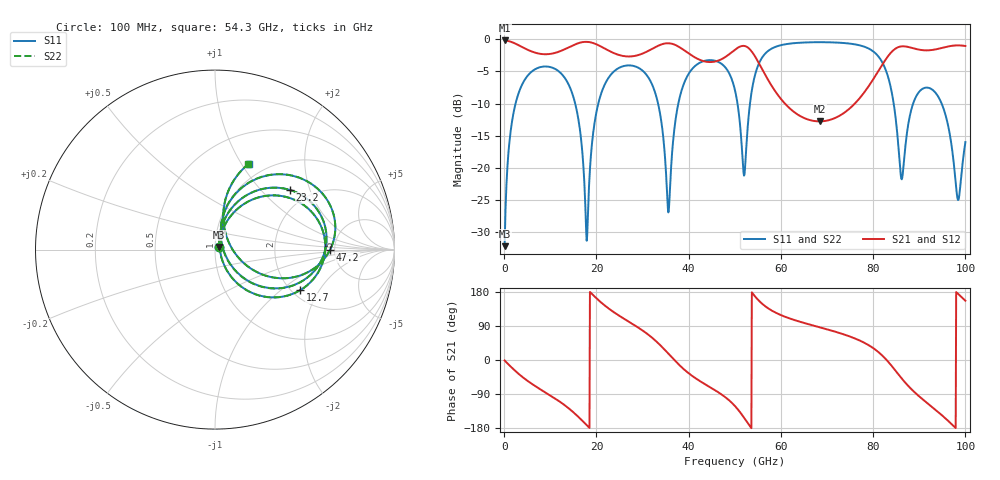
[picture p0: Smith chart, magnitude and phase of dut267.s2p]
! Touchstone file exported from HFSS 2026.1.0
!  File:  C:/ffzhzh/LocalFiles/Ansys_Project_Files/temp_train_TSV_RDL_267_1783674346_29156.aedt
!  Generated:  05:16:35 PM Jul 10, 2026
!  Design:  TSV_RDL
!  Project:  temp_train_TSV_RDL_267_1783674346_29156
! Variables:
!  h_bsmrdl = 3.98um
!  h_ox = 20um
!  h_rdl = 5um
!  h_sub = 75.31um
!  h_tmrdl = 3.52um
!  h_tsv = 75.31um
!  h_via = 3um
!  l_bsmrdl = 146.56um
!  l_sub = 3149.83um
!  l_tmrdl = 551.22um
!  m_sub = 200um
!  pitch = 52.73um
!  r_tsv = 9.02um
!  s_tmrdl = 10um
!  w_bsmrdl = 21.98um
!  w_sub = 500um
!  w_tmrdl = 13.11um
!  x_tsv_center1 = 557.775um
!  x_tsv_center2 = 726.315um
!  x_tsv_center3 = 1290.645um
!  x_tsv_center4 = 1459.185um
!  x_tsv_center5 = 2023.515um
!  x_tsv_center6 = 2192.055um
# GHz S MA R 50.000000
! Terminal data exported
! Port[1] = TM_RDL1_1_T1
! Port[2] = TM_RDL5_1_T1
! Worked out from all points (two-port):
!   1000 points, 100 MHz to 100 GHz, reference 50 ohm
!   highest |S21| = -0.17 dB at 100 MHz (marker M1); lowest = -12.8 dB at 68.4 GHz (marker M2)
!   |S21| within 3 dB of the highest: start of sweep to 42.37 GHz; 82.68 GHz to end of sweep (the widest 2 of 3)
!   lowest |S11| = -32.2 dB at 100 MHz (marker M3), VSWR 1.05, Z = 52 + j1.48 ohm
!   |S11| at or under -10 dB: 15.4 GHz to 20.41 GHz (5.01 GHz wide, 28 % of centre); 33.37 GHz to 37.76 GHz (4.39 GHz wide, 12.3 % of centre); 94.85 GHz to end of sweep (the widest 3 of 6)
!   |S22| runs from -32.2 to -0.4 dB; largest |S21 - S12| = 2.4e-11
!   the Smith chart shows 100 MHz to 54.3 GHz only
!   S11 on the Smith chart (normalised r, x): 100 MHz: 1.04, +0.03; 12.7 GHz: 2.21, -1.38; 23.2 GHz: 1.60, +1.48; 47.2 GHz: 4.59, -0.00; 54.3 GHz: 0.83, +1.07
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0.1  0.02456 35.3  0.9802 -1.3  0.9802 -1.3  0.02456 35.3
! Gamma 0 0 0 0
! Port Impedance 50 0 50 0
3.4  0.4051 47.4  0.8903 -39.3  0.8903 -39.3  0.4051 47.4
12.7  0.5257 -25.5  0.824 -115.5  0.824 -115.5  0.5257 -25.5
16.8  0.1517 -60.0  0.9483 -158.5  0.9483 -158.5  0.1516 -60.1
18  0.02962 29.6  0.9555 -173.1  0.9555 -173.1  0.02918 29.9
19.9  0.2594 67.4  0.9182 164.2  0.9182 164.2  0.2593 67.4
23.2  0.5344 38.4  0.7988 131.1  0.7988 131.1  0.5344 38.4
33.4  0.3129 -39.7  0.8917 44.3  0.8917 44.3  0.3128 -39.9
35.6  0.04499 12.9  0.9324 16.8  0.9324 16.8  0.04339 12.7
39.1  0.4643 58.9  0.8185 -25.9  0.8185 -25.9  0.464 59.1
47.2  0.642 -0.0  0.7026 -91.5  0.7026 -91.5  0.6418 0.1
50.1  0.3937 -23.9  0.8332 -122.3  0.8332 -122.3  0.3936 -23.9
52  0.08697 21.2  0.8892 -152.1  0.8892 -152.1  0.08679 21.3
54.3  0.5127 68.6  0.7451 169.1  0.7451 169.1  0.5127 68.7
66.7  0.9489 1.1  0.2333 92.0  0.2333 92.0  0.9489 1.1
68.4  0.9503 -4.1  0.2298 86.3  0.2298 86.3  0.9502 -4.1
83.4  0.4861 -85.5  0.753 -6.6  0.753 -6.6  0.4858 -85.6
86.2  0.08138 -43.2  0.882 -48.8  0.882 -48.8  0.08005 -42.9
89.9  0.3877 -9.7  0.832 -95.1  0.832 -95.1  0.3876 -9.4
95  0.3066 -51.2  0.8588 -146.7  0.8588 -146.7  0.3068 -50.7
98.4  0.05615 -9.2  0.8973 174.7  0.8973 174.7  0.05863 -8.9
100  0.1587 47.5  0.8878 156.4  0.8878 156.4  0.1596 46.7
